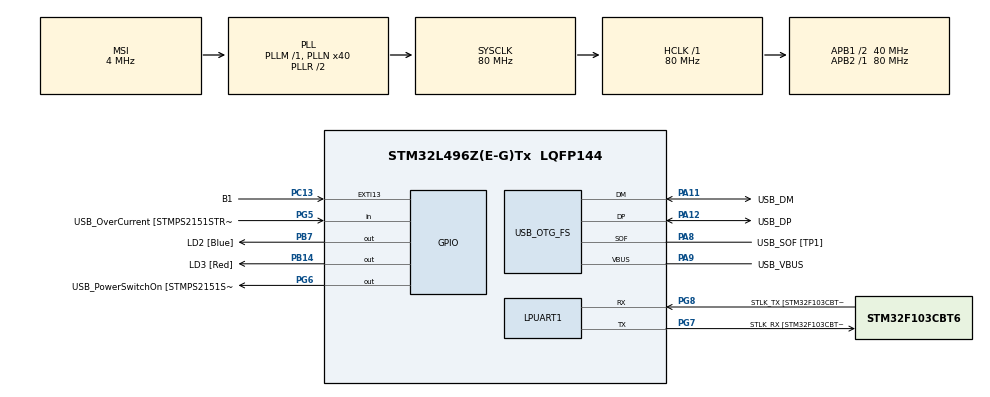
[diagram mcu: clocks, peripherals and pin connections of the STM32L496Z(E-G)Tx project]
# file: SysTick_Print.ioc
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Mcu.Family=STM32L4
PG8.Mode=Asynchronous
RCC.CortexFreq_Value=80000000
PG6.Signal=GPIO_Output
PG8.Signal=LPUART1_RX
PB14.GPIO_Label=LD3 [Red]
PG6.GPIO_Label=USB_PowerSwitchOn [STMPS2151STR_EN]
RCC.SYSCLKSourceVirtual=RCC_SYSCLKSOURCE_PLLCLK
PA11.Mode=Device_Only
PC15-OSC32_OUT\ (PC15).Mode=LSE-External-Oscillator
PC13.GPIO_Label=B1
PG5.GPIO_Label=USB_OverCurrent [STMPS2151STR_FAULT]
RCC.SYSCLKSource=RCC_SYSCLKSOURCE_PLLCLK
ProjectManager.StackSize=0x400
PC14-OSC32_IN\ (PC14).Mode=LSE-External-Oscillator
PA14\ (JTCK/SWCLK).Signal=SYS_JTCK-SWCLK
PA12.Signal=USB_OTG_FS_DP
RCC.HCLKFreq_Value=80000000
RCC.APB2TimFreq_Value=80000000
RCC.AHBFreq_Value=80000000
RCC.HSE_VALUE=8000000
RCC.PLLMUL=RCC_PLL_MUL9
PA13\ (JTMS/SWDIO).GPIO_Label=TMS
PA10.GPIO_Label=USB_ID
PB7.Signal=GPIO_Output
PA8.Signal=USB_OTG_FS_SOF
PA14\ (JTCK/SWCLK).Mode=Trace_Asynchronous_SW
PB7.GPIO_Label=LD2 [Blue]
Mcu.Package=LQFP144
PA10.Signal=USB_OTG_FS_ID
USB_OTG_FS.VirtualMode=Device_Only
PA14\ (JTCK/SWCLK).GPIO_Label=TCK
RCC.APB1TimFreq_Value=80000000
RCC.HSI48_VALUE=48000000
RCC.PLLSAI1N=24
PB3\ (JTDO/TRACESWO).GPIO_Label=SWO
RCC.MSI_VALUE=4000000
PG7.Signal=LPUART1_TX
PA13\ (JTMS/SWDIO).Mode=Trace_Asynchronous_SW
PG5.Signal=GPIO_Input
PC13.Signal=GPXTI13
PA9.GPIO_Label=USB_VBUS
PA11.GPIO_Label=USB_DM
PC15-OSC32_OUT\ (PC15).Signal=RCC_OSC32_OUT
RCC.APB1CLKDivider=RCC_HCLK_DIV2
PA12.GPIO_Label=USB_DP
PH1-OSC_OUT\ (PH1).Signal=RCC_OSC_OUT
PG8.GPIO_Label=STLK_TX [STM32F103CBT6_PA2]
PA9.Mode=Activate_VBUS
PA8.GPIO_Label=USB_SOF [TP1]
PB3\ (JTDO/TRACESWO).Signal=SYS_JTDO-SWO
ProjectManager.TargetToolchain=EWARM V8.32
PA9.Signal=USB_OTG_FS_VBUS
RCC.USBFreq_Value=48000000
PG7.Mode=Asynchronous
PB14.Signal=GPIO_Output
board=NUCLEO-L496ZG
RCC.VCOOutputFreq_Value=160000000
RCC.APB2Freq_Value=80000000
RCC.PRESCALERUSB=RCC_USBCLKSOURCE_PLL_DIV1_5
PG7.GPIO_Label=STLK_RX [STM32F103CBT6_PA3]
RCC.ADCFreq_Value=48000000
Mcu.Name=STM32L496Z(E-G)Tx
RCC.48MHZClocksFreq_Value=24000000
RCC.SYSCLKFreq_VALUE=80000000
PA12.Mode=Device_Only
PC14-OSC32_IN\ (PC14).Signal=RCC_OSC32_IN
PA11.Signal=USB_OTG_FS_DM
ProjectManager.HeapSize=0x200
RCC.HSI_VALUE=16000000
NVIC.PriorityGroup=NVIC_PRIORITYGROUP_4
PB3\ (JTDO/TRACESWO).Mode=Trace_Asynchronous_SW
RCC.PLLN=40
PA8.Mode=Activate_SOF_FS
RCC.APB1Freq_Value=40000000
PA13\ (JTMS/SWDIO).Signal=SYS_JTMS-SWDIO

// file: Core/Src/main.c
/* USER CODE BEGIN Header */
/**
  ******************************************************************************
  * @file           : main.c
  * @brief          : Main program body
  ******************************************************************************
  * @attention
  *
  * <h2><center>&copy; Copyright (c) 2020 STMicroelectronics.
  * All rights reserved.</center></h2>
  *
  * This software component is licensed by ST under BSD 3-Clause license,
  * the "License"; You may not use this file except in compliance with the
  * License. You may obtain a copy of the License at:
  *                        opensource.org/licenses/BSD-3-Clause
  *
  ******************************************************************************
  */
/* USER CODE END Header */
#include "main.h"
#include "usart.h"
#include "usb_otg.h"
#include "gpio.h"

/* USER CODE BEGIN Includes */
#include <stdio.h>
#include <arm_itm.h>
#include <LowLevelIOInterface.h>
/* USER CODE END Includes */

/* USER CODE BEGIN PV */
uint32_t Flag_var;
uint32_t i;
/* USER CODE END PV */

void SystemClock_Config(void);

int main(void)
{

  /* MCU Configuration--------------------------------------------------------*/

  /* Reset of all peripherals, Initializes the Flash interface and the Systick. */
  HAL_Init();

  /* Configure the system clock */
  SystemClock_Config();

  /* Initialize all configured peripherals */
  MX_GPIO_Init();
  MX_LPUART1_UART_Init();
  MX_USB_OTG_FS_PCD_Init();
  /* USER CODE BEGIN 2 */
  HAL_SYSTICK_Config(HAL_RCC_GetHCLKFreq()/10);
  /* USER CODE END 2 */

  /* Infinite loop */
  /* USER CODE BEGIN WHILE */
  while (1)
  {
    if(Flag_var == 1)
    {
      Flag_var = 0;
      i++;
//      printf("%d\r\n", DWT->CYCCNT);
      printf("SWV Test\r\n");
//      ITM_SendChar('0' + (i % 10));

    }
    /* USER CODE END WHILE */

  }
}

void SystemClock_Config(void)
{
  RCC_OscInitTypeDef RCC_OscInitStruct = {0};
  RCC_ClkInitTypeDef RCC_ClkInitStruct = {0};
  RCC_PeriphCLKInitTypeDef PeriphClkInit = {0};

  /** Configure LSE Drive Capability
  */
  HAL_PWR_EnableBkUpAccess();
  __HAL_RCC_LSEDRIVE_CONFIG(RCC_LSEDRIVE_LOW);
  /** Initializes the RCC Oscillators according to the specified parameters
  * in the RCC_OscInitTypeDef structure.
  */
  RCC_OscInitStruct.OscillatorType = RCC_OSCILLATORTYPE_LSE|RCC_OSCILLATORTYPE_MSI;
  RCC_OscInitStruct.LSEState = RCC_LSE_ON;
  RCC_OscInitStruct.MSIState = RCC_MSI_ON;
  RCC_OscInitStruct.MSICalibrationValue = 0;
  RCC_OscInitStruct.MSIClockRange = RCC_MSIRANGE_6;
  RCC_OscInitStruct.PLL.PLLState = RCC_PLL_ON;
  RCC_OscInitStruct.PLL.PLLSource = RCC_PLLSOURCE_MSI;
  RCC_OscInitStruct.PLL.PLLM = 1;
  RCC_OscInitStruct.PLL.PLLN = 40;
  RCC_OscInitStruct.PLL.PLLP = RCC_PLLP_DIV2;
  RCC_OscInitStruct.PLL.PLLQ = RCC_PLLQ_DIV2;
  RCC_OscInitStruct.PLL.PLLR = RCC_PLLR_DIV2;
  if (HAL_RCC_OscConfig(&RCC_OscInitStruct) != HAL_OK)
  {
    Error_Handler();
  }
  /** Initializes the CPU, AHB and APB buses clocks
  */
  RCC_ClkInitStruct.ClockType = RCC_CLOCKTYPE_HCLK|RCC_CLOCKTYPE_SYSCLK
                              |RCC_CLOCKTYPE_PCLK1|RCC_CLOCKTYPE_PCLK2;
  RCC_ClkInitStruct.SYSCLKSource = RCC_SYSCLKSOURCE_PLLCLK;
  RCC_ClkInitStruct.AHBCLKDivider = RCC_SYSCLK_DIV1;
  RCC_ClkInitStruct.APB1CLKDivider = RCC_HCLK_DIV2;
  RCC_ClkInitStruct.APB2CLKDivider = RCC_HCLK_DIV1;

  if (HAL_RCC_ClockConfig(&RCC_ClkInitStruct, FLASH_LATENCY_4) != HAL_OK)
  {
    Error_Handler();
  }
  PeriphClkInit.PeriphClockSelection = RCC_PERIPHCLK_LPUART1|RCC_PERIPHCLK_USB;
  PeriphClkInit.Lpuart1ClockSelection = RCC_LPUART1CLKSOURCE_PCLK1;
  PeriphClkInit.UsbClockSelection = RCC_USBCLKSOURCE_PLLSAI1;
  PeriphClkInit.PLLSAI1.PLLSAI1Source = RCC_PLLSOURCE_MSI;
  PeriphClkInit.PLLSAI1.PLLSAI1M = 1;
  PeriphClkInit.PLLSAI1.PLLSAI1N = 24;
  PeriphClkInit.PLLSAI1.PLLSAI1P = RCC_PLLP_DIV2;
  PeriphClkInit.PLLSAI1.PLLSAI1Q = RCC_PLLQ_DIV2;
  PeriphClkInit.PLLSAI1.PLLSAI1R = RCC_PLLR_DIV2;
  PeriphClkInit.PLLSAI1.PLLSAI1ClockOut = RCC_PLLSAI1_48M2CLK;
  if (HAL_RCCEx_PeriphCLKConfig(&PeriphClkInit) != HAL_OK)
  {
    Error_Handler();
  }
  /** Configure the main internal regulator output voltage
  */
  if (HAL_PWREx_ControlVoltageScaling(PWR_REGULATOR_VOLTAGE_SCALE1) != HAL_OK)
  {
    Error_Handler();
  }
  /** Enable MSI Auto calibration
  */
  HAL_RCCEx_EnableMSIPLLMode();
}

/* USER CODE BEGIN 4 */
void SysTick_Test()
{
  Flag_var = 1;
//  HAL_GPIO_TogglePin(GPIOB, GPIO_PIN_7);
}

/*
 * if the __write implementation uses internal buffering, uncomment
 * the following line to ensure that we are called with "buffer" as 0
 * (i.e. flush) when the application terminates.
 */
size_t __write(int handle, const unsigned char * buffer, size_t size)
{
  const unsigned char *itm_buffer = buffer;
  size_t itm_size = size;

  for (/* empty */; itm_size != 0; --itm_size)
  {
    if(itm_size == size)
      ITM_SendChar('0' + (i % 10));
    ITM_SendChar(*itm_buffer++);
  }
  return size;
}

size_t __read(int handle, unsigned char * buffer, size_t size)
{

}
/* USER CODE END 4 */

void Error_Handler(void)
{
}

/************************ (C) COPYRIGHT STMicroelectronics *****END OF FILE****/
